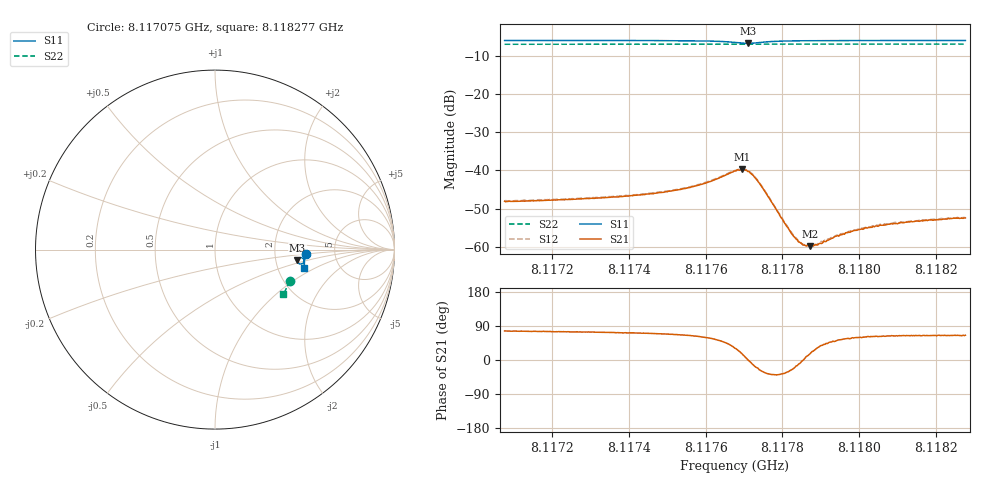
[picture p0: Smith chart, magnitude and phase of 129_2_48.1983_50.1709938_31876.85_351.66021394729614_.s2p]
#  HZ  S  RI  R  50.00
! Rohde & Schwarz Vector Network Analyzer
! Rohde-Schwarz,ZNB20-2Port,1311601062101988,3.16
! Created: UTC 3/20/2024, 11:41:50 AM
! freq[Hz]  re:S11  im:S11  re:S21  im:S21  re:S12  im:S12  re:S22  im:S22
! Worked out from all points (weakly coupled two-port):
!   401 points, 8.117075 GHz to 8.118277 GHz, reference 50 ohm
!   highest |S21| = -39.74 dB at 8.117694 GHz (marker M1); lowest = -59.9 dB at 8.117871 GHz (marker M2)
!   lowest |S11| = -6.7 dB at 8.117709 GHz (marker M3), VSWR 2.72, Z = 133 - j20.1 ohm
!   |S11| at or under -10 dB: nowhere
!   |S22| runs from -6.9 to -6.8 dB; largest |S21 - S12| = 0.00033
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8.1170752e9  0.5055 -0.0229  0.0009 0.00383  0.000982 0.00386  0.4158 -0.1746
8.1172765e9  0.504 -0.0393  0.0012 0.00407  0.00125 0.00417  0.4106 -0.1876
8.1173757e9  0.5027 -0.048  0.00139 0.00431  0.00146 0.00439  0.408 -0.1943
8.1174778e9  0.5006 -0.0577  0.00181 0.00478  0.00191 0.00483  0.4049 -0.2007
8.1175409e9  0.4981 -0.0651  0.00234 0.00523  0.00243 0.00531  0.4032 -0.2048
8.117592e9  0.4939 -0.072  0.00326 0.00578  0.00334 0.00585  0.4013 -0.2081
8.1176762e9  0.4693 -0.0787  0.00845 0.00507  0.00854 0.00519  0.3979 -0.2132
8.1176942e9  0.461 -0.0708  0.00986 0.00298  0.0101 0.00286  0.397 -0.2139
8.1177092e9  0.4591 -0.0596  0.00968 0.000155  0.00987 2.79e-05  0.3967 -0.2141
8.1177212e9  0.4628 -0.0512  0.00863 -0.00166  0.00884 -0.00185  0.3967 -0.2147
8.1177392e9  0.4731 -0.0447  0.00617 -0.00297  0.00626 -0.00306  0.3965 -0.2153
8.1178114e9  0.495 -0.0557  0.00156 -0.000975  0.00159 -0.00103  0.3952 -0.2204
8.1178294e9  0.4965 -0.059  0.00127 -0.000503  0.00131 -0.000542  0.3947 -0.2218
8.1178504e9  0.4975 -0.0623  0.0011 -5.59e-05  0.00108 -7.17e-05  0.3942 -0.2231
8.1178715e9  0.4981 -0.0657  0.000975 0.000281  0.001 0.000296  0.3933 -0.2245
8.1178775e9  0.4982 -0.0665  0.000964 0.000398  0.000984 0.000362  0.3932 -0.2249
8.1178985e9  0.4983 -0.0692  0.00088 0.000669  0.00093 0.000682  0.3925 -0.2262
8.1179436e9  0.4984 -0.0745  0.000853 0.0011  0.00087 0.00112  0.3911 -0.2291
8.1179796e9  0.4982 -0.0782  0.000851 0.00134  0.000872 0.00138  0.3899 -0.2315
8.1180788e9  0.4972 -0.0875  0.000881 0.00176  0.000893 0.00178  0.3866 -0.2378
8.1181629e9  0.4958 -0.0945  0.000971 0.00197  0.00094 0.00203  0.3837 -0.2428
8.1182771e9  0.4942 -0.1038  0.000991 0.00216  0.00104 0.00217  0.3796 -0.2497
